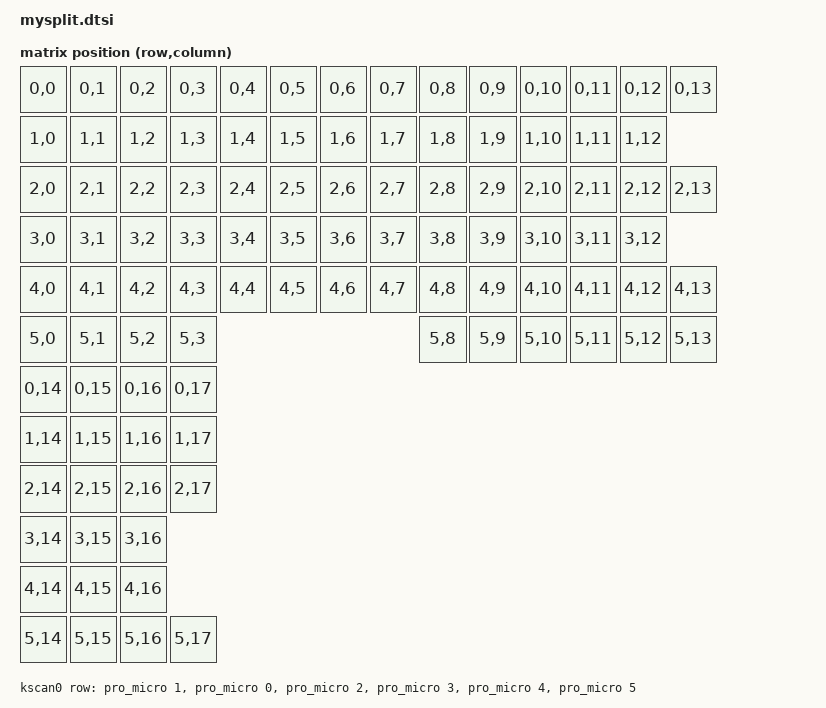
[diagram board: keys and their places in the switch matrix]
// ============================================================
// mysplit.dtsi  - 세 보드(왼쪽/오른쪽/숫자패드) 공통 정의
//
// 핀 이름은 &pro_micro 번호 기준 (nice!nano 실크 → pro_micro 번호)
//   006=1  008=0  017=2  020=3  022=4  024=5
//   100=6  011=7  104=8  106=9  031=21 029=20 002=19 115=18
//
// 다이오드: 기존 Arduino 코드가 "Row를 LOW로 내리고 Col을 풀업으로 읽는" 방식이라
//   전류가 Col → Row로 흐르는 구조 = ZMK의 "col2row".
//   만약 아무 키도 안 눌리면 다이오드가 반대 방향인 것이니
//   diode-direction을 "row2col"로 바꾸고, GPIO_PULL_DOWN을 row 대신 col 쪽에 붙이세요.
// ============================================================
#include <dt-bindings/zmk/matrix_transform.h>

/ {
    chosen {
        zmk,kscan = &kscan0;
        zmk,physical-layout = &physical_layout0;
    };

    kscan0: kscan0 {
        compatible = "zmk,kscan-gpio-matrix";
        diode-direction = "col2row";
        wakeup-source;

        // Row0~5 : 006, 008, 017, 020, 022, 024 (세 보드 공통)
        row-gpios
            = <&pro_micro 1 (GPIO_ACTIVE_HIGH | GPIO_PULL_DOWN)>
            , <&pro_micro 0 (GPIO_ACTIVE_HIGH | GPIO_PULL_DOWN)>
            , <&pro_micro 2 (GPIO_ACTIVE_HIGH | GPIO_PULL_DOWN)>
            , <&pro_micro 3 (GPIO_ACTIVE_HIGH | GPIO_PULL_DOWN)>
            , <&pro_micro 4 (GPIO_ACTIVE_HIGH | GPIO_PULL_DOWN)>
            , <&pro_micro 5 (GPIO_ACTIVE_HIGH | GPIO_PULL_DOWN)>
            ;
        // col-gpios는 각 보드 .overlay 파일에서 따로 정의
    };

    // 전체 키 배치: 왼쪽 col 0~5, 오른쪽 col 6~13 (col-offset 6),
    //                숫자패드 col 14~17 (col-offset 14)
    // 숫자패드는 맨 뒤에 붙여서, 기존 왼쪽/오른쪽 키 순서는 그대로 유지
    // 스위치가 없는 자리(KC_NO)는 뺐음
    default_transform: keymap_transform0 {
        compatible = "zmk,matrix-transform";
        columns = <18>;
        rows = <6>;
        map = <
// 왼쪽                                              | 오른쪽
RC(0,0) RC(0,1) RC(0,2) RC(0,3) RC(0,4) RC(0,5)        RC(0,6) RC(0,7) RC(0,8) RC(0,9) RC(0,10) RC(0,11) RC(0,12) RC(0,13)
RC(1,0) RC(1,1) RC(1,2) RC(1,3) RC(1,4) RC(1,5)        RC(1,6) RC(1,7) RC(1,8) RC(1,9) RC(1,10) RC(1,11) RC(1,12)
RC(2,0) RC(2,1) RC(2,2) RC(2,3) RC(2,4) RC(2,5)        RC(2,6) RC(2,7) RC(2,8) RC(2,9) RC(2,10) RC(2,11) RC(2,12) RC(2,13)
RC(3,0) RC(3,1) RC(3,2) RC(3,3) RC(3,4) RC(3,5)        RC(3,6) RC(3,7) RC(3,8) RC(3,9) RC(3,10) RC(3,11) RC(3,12)
RC(4,0) RC(4,1) RC(4,2) RC(4,3) RC(4,4) RC(4,5)        RC(4,6) RC(4,7) RC(4,8) RC(4,9) RC(4,10) RC(4,11) RC(4,12) RC(4,13)
RC(5,0) RC(5,1) RC(5,2) RC(5,3)                                        RC(5,8) RC(5,9) RC(5,10) RC(5,11) RC(5,12) RC(5,13)
// 숫자패드
RC(0,14) RC(0,15) RC(0,16) RC(0,17)
RC(1,14) RC(1,15) RC(1,16) RC(1,17)
RC(2,14) RC(2,15) RC(2,16) RC(2,17)
RC(3,14) RC(3,15) RC(3,16)
RC(4,14) RC(4,15) RC(4,16)
RC(5,14) RC(5,15) RC(5,16) RC(5,17)
        >;
    };

    physical_layout0: physical_layout_0 {
        compatible = "zmk,physical-layout";
        display-name = "Default Layout";
        transform = <&default_transform>;
    };
};
